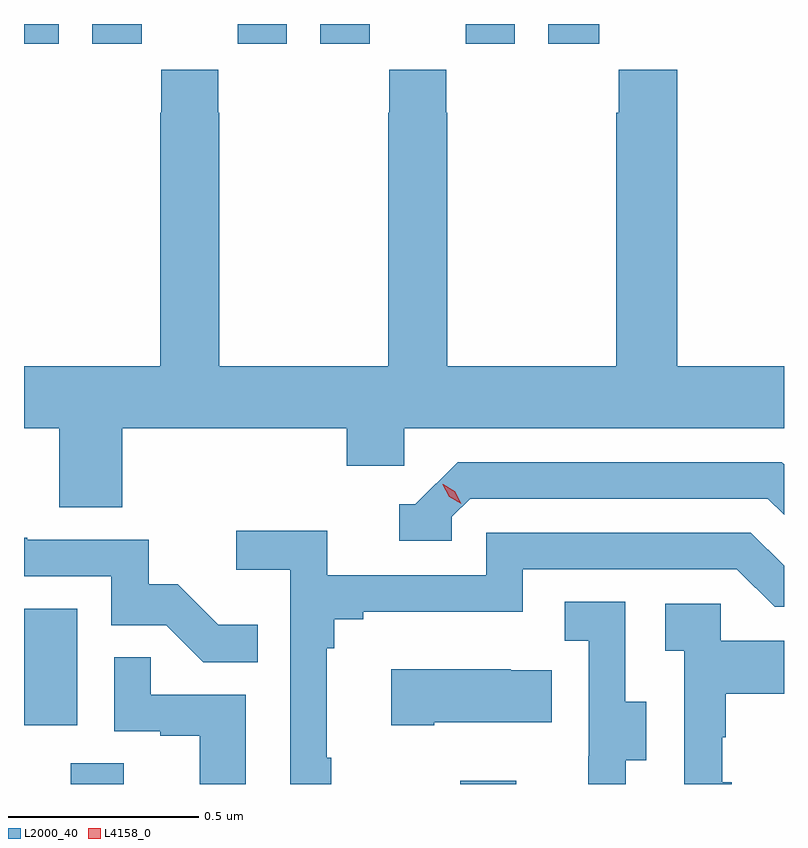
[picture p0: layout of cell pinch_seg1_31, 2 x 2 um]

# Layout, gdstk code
import gdstk
lib = gdstk.Library(unit=1e-6, precision=1e-09)
def R(c, l, rs):  # rectangles x0, y0, x1, y1
    for r in rs: c.add(gdstk.rectangle(r[:2], r[2:], *l))
def P(c, l, *ps):  # polygons
    for p in ps: c.add(gdstk.Polygon(p, *l))
L2000_40 = (2000, 40)
L4158_0 = (4158, 0)

pinch_seg1_31 = lib.new_cell('pinch_seg1_31')
R(pinch_seg1_31, L2000_40, [(1129.391,566.78,1129.531,566.834), (1130.416,566.78,1130.563,566.788), (1129.268,566.934,1129.408,567.241), (1129.268,568.728,1129.36,568.78), (1129.448,568.728,1129.578,568.78), (1129.83,568.728,1129.96,568.78), (1130.048,568.728,1130.178,568.78), (1130.43,568.728,1130.56,568.78), (1130.648,568.728,1130.782,568.78)])
P(pinch_seg1_31, L2000_40, [(1129.526,567.716),(1130.117,567.716),(1130.117,567.618),(1130.268,567.618),(1130.268,567.716),(1131.268,567.716),(1131.268,567.88),(1130.987,567.88),(1130.987,568.66),(1130.833,568.66),(1130.833,568.547),(1130.827,568.547),(1130.827,567.88),(1130.382,567.88),(1130.382,568.547),(1130.379,568.547),(1130.379,568.66),(1130.229,568.66),(1130.229,568.547),(1130.227,568.547),(1130.227,567.88),(1129.782,567.88),(1129.782,568.547),(1129.779,568.547),(1129.779,568.66),(1129.629,568.66),(1129.629,568.547),(1129.627,568.547),(1129.627,567.88),(1129.268,567.88),(1129.268,567.716),(1129.361,567.716),(1129.361,567.508),(1129.526,567.508)],
  [(1130.394,567.483),(1130.442,567.531),(1131.225,567.531),(1131.268,567.488),(1131.268,567.621),(1131.262,567.627),(1130.409,567.627),(1130.298,567.516),(1130.255,567.516),(1130.255,567.42),(1130.394,567.42)],
  [(1130.077,566.849),(1130.065,566.849),(1130.065,567.137),(1130.084,567.137),(1130.084,567.214),(1130.161,567.214),(1130.161,567.233),(1130.58,567.233),(1130.58,567.345),(1131.144,567.345),(1131.243,567.246),(1131.268,567.246),(1131.268,567.354),(1131.181,567.441),(1130.484,567.441),(1130.484,567.33),(1130.066,567.33),(1130.066,567.446),(1129.827,567.446),(1129.827,567.344),(1129.968,567.344),(1129.968,566.78),(1130.077,566.78)],
  [(1129.883,567.199),(1129.779,567.199),(1129.672,567.306),(1129.596,567.306),(1129.596,567.423),(1129.277,567.423),(1129.277,567.428),(1129.268,567.428),(1129.268,567.327),(1129.497,567.327),(1129.497,567.198),(1129.642,567.198),(1129.74,567.1),(1129.883,567.1)],
  [(1130.851,566.842),(1130.905,566.842),(1130.905,566.997),(1130.85,566.997),(1130.85,567.26),(1130.691,567.26),(1130.691,567.157),(1130.754,567.157),(1130.754,566.853),(1130.753,566.853),(1130.753,566.78),(1130.851,566.78)],
  [(1131.13,566.784),(1131.105,566.784),(1131.105,566.903),(1131.115,566.903),(1131.115,567.017),(1131.268,567.017),(1131.268,567.157),(1131.102,567.157),(1131.102,567.255),(1130.955,567.255),(1130.955,567.131),(1131.006,567.131),(1131.006,566.78),(1131.13,566.78)],
  [(1129.852,567.015),(1129.601,567.015),(1129.601,567.113),(1129.506,567.113),(1129.506,566.919),(1129.627,566.919),(1129.627,566.907),(1129.73,566.907),(1129.73,566.78),(1129.852,566.78)],
  [(1130.347,566.942),(1130.657,566.942),(1130.657,567.079),(1130.549,567.079),(1130.549,567.082),(1130.235,567.082),(1130.235,566.935),(1130.347,566.935)])
P(pinch_seg1_31, L4158_0, [(1130.418,567.518),(1130.387,567.536),(1130.37,567.568),(1130.37,567.569),(1130.371,567.569),(1130.401,567.55),(1130.418,567.518),(1130.418,567.518)])

lib.write_gds('pinch_seg1_31.gds')
